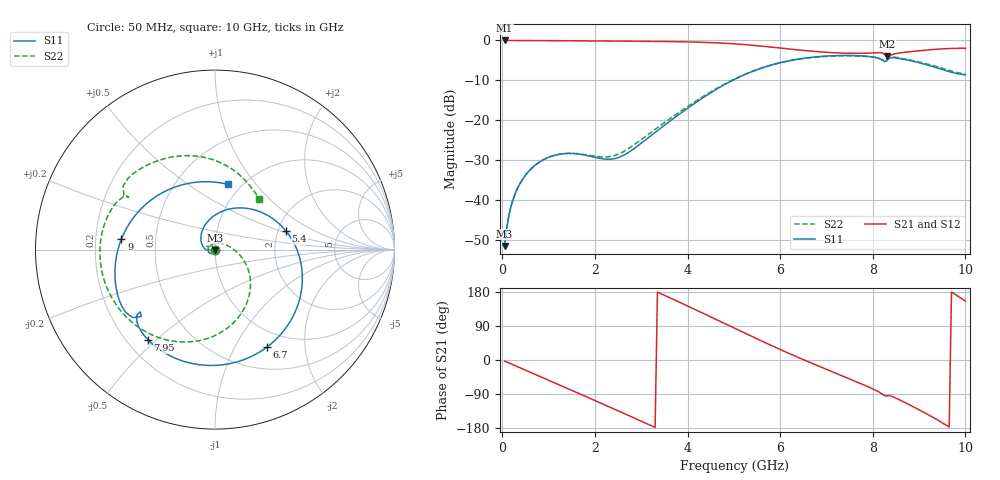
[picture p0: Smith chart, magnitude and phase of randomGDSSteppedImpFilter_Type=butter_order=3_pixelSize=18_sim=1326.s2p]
! freq	dB(S11)	phase(S11)	dB(S12)	phase(S12)
!  dB(S21)	phase(S21)	dB(S22)	phase(S22)
!S-par simulation data
#  GHz  S  DB  R 50
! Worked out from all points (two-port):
!   200 points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, 50 MHz to 10 GHz, reference 50 ohm
!   highest |S21| = -0.01 dB at 50 MHz (marker M1); lowest = -4.0 dB at 8.3 GHz (marker M2)
!   |S21| within 3 dB of the highest: start of sweep to 7.032 GHz; 8.657 GHz to end of sweep
!   lowest |S11| = -51.6 dB at 50 MHz (marker M3), VSWR 1.01, Z = 50.1 - j0.251 ohm
!   |S11| at or under -10 dB: start of sweep to 4.974 GHz
!   |S22| runs from -51.6 to -3.8 dB; largest |S21 - S12| = 0
!   S11 on the Smith chart (normalised r, x): 50 MHz: 1.00, -0.01; 5.4 GHz: 2.21, +0.55; 6.7 GHz: 0.77, -1.35; 7.95 GHz: 0.28, -0.47; 9 GHz: 0.31, +0.05; 10 GHz: 0.87, +0.73
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0.05  -51.56 -71.6  -0.01 -2.7  -0.01 -2.7  -51.57 -71.7
0.1  -46.64 -83.7  -0.02 -5.4  -0.02 -5.4  -46.65 -83.9
0.2  -41.08 -95.6  -0.02 -10.7  -0.02 -10.7  -41.09 -96.2
0.55  -33.08 -118.8  -0.04 -29.4  -0.04 -29.4  -33.09 -120.8
1.2  -28.60 -151.8  -0.08 -64.0  -0.08 -64.0  -28.60 -160.6
1.75  -28.67 -172.9  -0.11 -93.5  -0.11 -93.5  -28.56 159.4
2.2  -29.73 -178.3  -0.14 -117.7  -0.14 -117.7  -29.23 114.6
2.65  -28.60 -174.4  -0.17 -142.2  -0.17 -142.2  -27.65 63.5
3.4  -22.16 158.5  -0.26 176.4  -0.26 176.4  -21.43 10.3
3.85  -18.27 126.9  -0.33 151.1  -0.33 151.1  -17.76 -8.5
4.3  -14.63 93.0  -0.46 125.4  -0.46 125.4  -14.32 -25.6
5.05  -9.56 38.4  -0.89 81.7  -0.89 81.7  -9.47 -57.1
5.4  -7.77 14.7  -1.21 61.5  -1.21 61.5  -7.74 -73.4
6.05  -5.45 -25.8  -1.97 25.0  -1.97 25.0  -5.48 -105.0
6.7  -4.21 -62.2  -2.73 -9.3  -2.73 -9.3  -4.28 -136.8
7.35  -3.78 -95.6  -3.18 -42.1  -3.18 -42.1  -3.85 -168.8
7.95  -4.07 -126.6  -3.16 -73.3  -3.16 -73.3  -4.11 160.6
8.3  -5.13 -137.8  -3.98 -94.9  -3.98 -94.9  -4.59 149.4
8.35  -4.52 -140.3  -3.93 -93.8  -3.93 -93.8  -4.12 145.4
9  -5.60 173.7  -2.59 -131.3  -2.59 -131.3  -5.39 103.5
9.55  -7.48 127.7  -2.09 -169.3  -2.09 -169.3  -7.16 72.0
10  -8.62 78.7  -1.98 155.5  -1.98 155.5  -8.48 49.1
